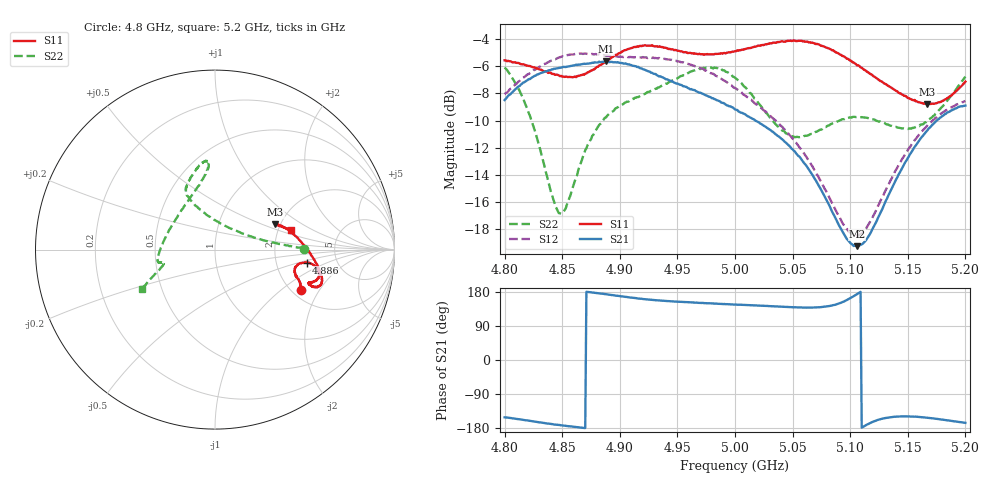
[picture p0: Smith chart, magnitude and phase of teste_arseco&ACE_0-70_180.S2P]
! Network Analyzer HP8722D
! Hewlett-Packard
! Data name: Linha & Wilkinson
! Saver's name: Rodrigo Anjos
! Comments: Teste da utilização de aquisição
! continua pelo VNA HP8722D
! Time and date: 8/5/2025 14:15
!  Frequency  S11  S21  S12  S22
# HZ  S  MA R 50
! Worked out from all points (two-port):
!   401 points, 4.8 GHz to 5.2 GHz, reference 50 ohm
!   highest |S21| = -5.64 dB at 4.888 GHz (marker M1); lowest = -19.2 dB at 5.106 GHz (marker M2)
!   |S21| within 3 dB of the highest: start of sweep to 4.988 GHz
!   lowest |S11| = -8.8 dB at 5.167 GHz (marker M3), VSWR 2.15, Z = 93.9 + j30.7 ohm
!   |S11| at or under -10 dB: nowhere
!   |S22| runs from -16.9 to -6.1 dB; largest |S21 - S12| = 1.1
!   S11 on the Smith chart (normalised r, x): 4.8 GHz: 2.24, -1.38; 4.886 GHz: 3.00, -0.59; 5.2 GHz: 2.36, +0.65
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4.8e9  0.5275 -25.0  0.3765 -151.3  0.3956 8.2  0.4959 0.6
4.82e9  0.5038 -20.7  0.446 -159.8  0.4688 5.3  0.3462 5.7
4.842e9  0.4698 -17.3  0.4884 -169.5  0.5282 1.8  0.1635 37.9
4.847e9  0.4643 -16.1  0.4942 -171.5  0.539 1.0  0.1444 56.1
4.853e9  0.459 -14.8  0.4981 -173.7  0.5491 -0.1  0.1499 79.6
4.867e9  0.4654 -11.0  0.5105 -178.6  0.558 -2.2  0.2257 108.3
4.886e9  0.5153 -8.1  0.5201 174.4  0.5515 -3.3  0.3192 116.6
4.888e9  0.5222 -8.3  0.5225 173.5  0.5486 -3.3  0.3249 116.9
4.911e9  0.5863 -11.5  0.5039 164.3  0.5417 -2.5  0.3803 115.3
4.934e9  0.5927 -16.5  0.4601 157.0  0.5379 -3.5  0.419 109.2
4.975e9  0.5543 -19.7  0.3915 149.8  0.4834 -6.9  0.4964 96.4
5e9  0.5696 -20.5  0.3479 146.2  0.4172 -7.1  0.4556 95.1
5.043e9  0.6172 -18.8  0.2646 140.3  0.2937 1.2  0.2886 130.7
5.067e9  0.6124 -14.0  0.2001 138.4  0.2154 8.6  0.2827 165.0
5.095e9  0.5439 -4.2  0.12 154.8  0.1295 35.2  0.3203 -172.5
5.106e9  0.5052 1.1  0.1091 174.0  0.1193 56.6  0.3262 -168.7
5.116e9  0.4744 6.4  0.1188 -168.4  0.1314 75.6  0.3223 -167.0
5.134e9  0.4222 15.1  0.1706 -151.3  0.1865 94.2  0.3041 -166.1
5.151e9  0.3824 21.0  0.234 -149.0  0.2502 99.4  0.2957 -164.4
5.167e9  0.3642 22.9  0.2912 -152.4  0.3032 100.3  0.3156 -161.6
5.183e9  0.3791 20.4  0.3348 -158.5  0.3452 100.3  0.3682 -157.1
5.2e9  0.4399 14.6  0.3593 -165.9  0.3734 100.8  0.4594 -151.7
